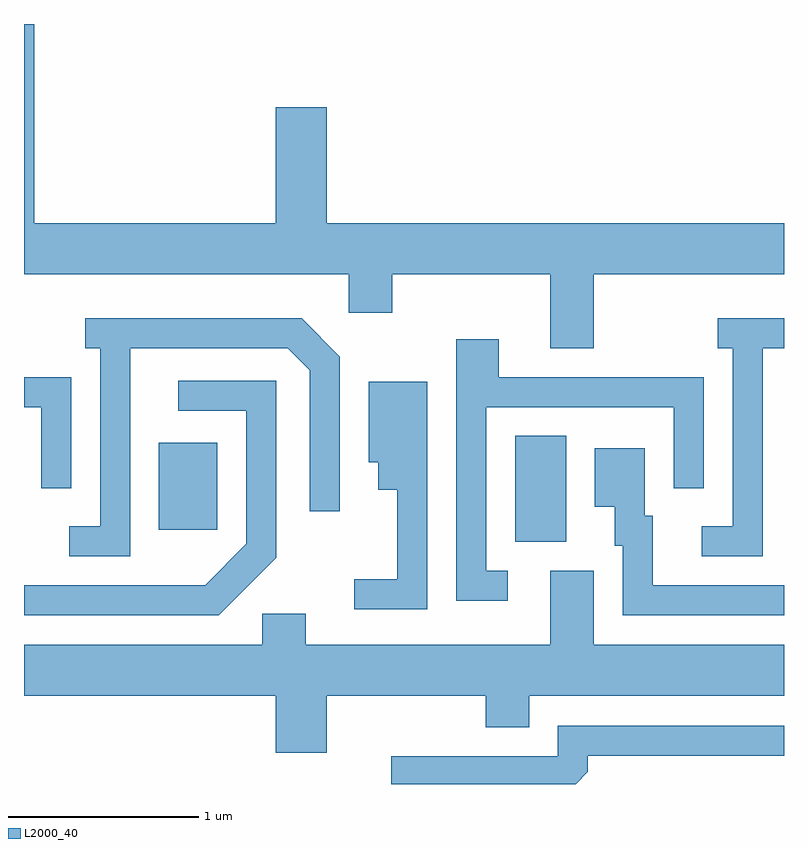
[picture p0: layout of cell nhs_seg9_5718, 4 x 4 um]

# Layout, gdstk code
import gdstk
lib = gdstk.Library(unit=1e-6, precision=1e-09)
def R(c, l, rs):  # rectangles x0, y0, x1, y1
    for r in rs: c.add(gdstk.rectangle(r[:2], r[2:], *l))
def P(c, l, *ps):  # polygons
    for p in ps: c.add(gdstk.Polygon(p, *l))
L2000_40 = (2000, 40)

nhs_seg9_5718 = lib.new_cell('nhs_seg9_5718')
R(nhs_seg9_5718, L2000_40, [(356.196,2023.706,356.464,2024.264), (354.321,2023.771,354.629,2024.229)])
P(nhs_seg9_5718, L2000_40, [(356.609,2025.116),(357.611,2025.116),(357.611,2025.384),(355.204,2025.384),(355.204,2025.994),(354.936,2025.994),(354.936,2025.384),(353.664,2025.384),(353.664,2026.432),(353.611,2026.432),(353.611,2025.116),(355.321,2025.116),(355.321,2024.911),(355.549,2024.911),(355.549,2025.116),(356.381,2025.116),(356.381,2024.726),(356.609,2024.726)],
  [(354.169,2024.726),(354.999,2024.726),(355.116,2024.609),(355.116,2023.868),(355.274,2023.868),(355.274,2024.682),(355.072,2024.884),(353.933,2024.884),(353.933,2024.726),(354.011,2024.726),(354.011,2023.789),(353.848,2023.789),(353.848,2023.631),(354.169,2023.631)],
  [(357.499,2024.726),(357.611,2024.726),(357.611,2024.884),(357.263,2024.884),(357.263,2024.726),(357.341,2024.726),(357.341,2023.789),(357.178,2023.789),(357.178,2023.631),(357.499,2023.631)],
  [(356.158,2023.554),(356.044,2023.554),(356.044,2024.416),(357.031,2024.416),(357.031,2023.988),(357.189,2023.988),(357.189,2024.574),(356.109,2024.574),(356.109,2024.774),(355.886,2024.774),(355.886,2023.396),(356.158,2023.396)],
  [(353.859,2024.574),(353.611,2024.574),(353.611,2024.416),(353.701,2024.416),(353.701,2023.988),(353.859,2023.988)],
  [(354.939,2023.624),(354.939,2024.554),(354.423,2024.554),(354.423,2024.396),(354.781,2024.396),(354.781,2023.697),(354.564,2023.479),(353.611,2023.479),(353.611,2023.321),(354.637,2023.321)],
  [(355.734,2024.549),(355.426,2024.549),(355.426,2024.126),(355.476,2024.126),(355.476,2023.981),(355.576,2023.981),(355.576,2023.509),(355.348,2023.509),(355.348,2023.351),(355.734,2023.351)],
  [(357.611,2023.479),(356.919,2023.479),(356.919,2023.844),(356.879,2023.844),(356.879,2024.199),(356.616,2024.199),(356.616,2023.891),(356.721,2023.891),(356.721,2023.686),(356.761,2023.686),(356.761,2023.321),(357.611,2023.321)],
  [(355.204,2022.896),(356.041,2022.896),(356.041,2022.731),(356.269,2022.731),(356.269,2022.896),(357.611,2022.896),(357.611,2023.164),(356.609,2023.164),(356.609,2023.554),(356.381,2023.554),(356.381,2023.164),(355.094,2023.164),(355.094,2023.329),(354.866,2023.329),(354.866,2023.164),(353.611,2023.164),(353.611,2022.896),(354.936,2022.896),(354.936,2022.596),(355.204,2022.596)],
  [(356.579,2022.497),(356.579,2022.581),(357.611,2022.581),(357.611,2022.739),(356.421,2022.739),(356.421,2022.579),(355.543,2022.579),(355.543,2022.432),(356.515,2022.432)])

lib.write_gds('nhs_seg9_5718.gds')
